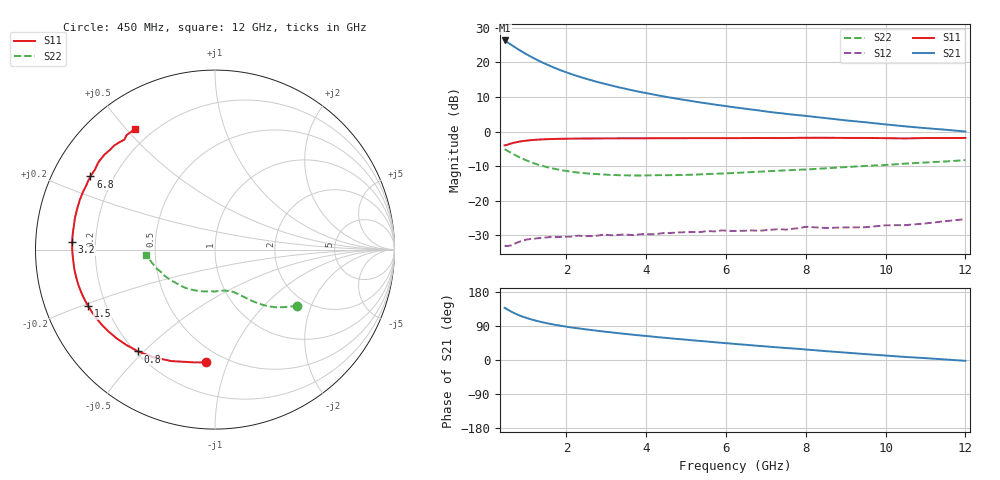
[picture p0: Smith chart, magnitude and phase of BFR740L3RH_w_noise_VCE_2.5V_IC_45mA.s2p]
! (c) 2012  Infineon Technologies AG, Munich
! Infineon Technologies  Discrete & RF Semiconductors
! BFR740L3RH
! VCE =  2.5 V,  IC =  45 mA
! Common Emitter S-Parameters:  May 2012
# GHz  S  MA  R  50
!  f  S11  S21  S12  S22
! GHz  MAG  ANG  MAG  ANG  MAG  ANG  MAG  ANG
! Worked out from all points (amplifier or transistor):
!   85 points, 450 MHz to 12 GHz, reference 50 ohm
!   highest |S21| = 26.4 dB at 450 MHz (marker M1)
!   |S21| within 3 dB of that: start of sweep to 853 MHz
!   unconditionally stable (mu >= 1): 2.964 GHz to end of sweep
!   at 1.8 GHz: K = 0.67, MSG = 24.3 dB, |S12| = -30.6 dB
!   at 4.6 GHz: K = 1.48, MAG = 15.5 dB, |S12| = -29.4 dB
!   at 12 GHz: K = 2.82, MAG = 5.3 dB, |S12| = -25.4 dB
!   lowest NFmin = 1.51 dB at 450 MHz
!   S11 on the Smith chart (normalised r, x): 450 MHz: 0.40, -0.84; 800 MHz: 0.21, -0.48; 1.5 GHz: 0.13, -0.21; 3.2 GHz: 0.11, +0.03; 6.8 GHz: 0.12, +0.27; 12 GHz: 0.14, +0.53
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0.45  0.6307 -94.4  20.8 137.9  0.0224 50.7  0.5557 -34.2
0.5  0.6391 -100.6  19.9 134.7  0.0219 48.7  0.5345 -36.3
0.6  0.6668 -111.3  18.25 128.6  0.0224 44.1  0.4952 -40.4
0.7  0.6919 -119.9  16.74 123.2  0.0238 39.3  0.4607 -44.1
0.8  0.7107 -127.0  15.37 118.5  0.0251 35.0  0.4301 -47.1
0.9  0.7261 -133.1  14.17 114.5  0.0264 32.5  0.4037 -49.4
1  0.7388 -138.2  13.11 110.9  0.0273 31.3  0.3815 -51.4
1.1  0.749 -142.7  12.19 107.7  0.0278 30.2  0.3621 -53.2
1.3  0.7641 -150.1  10.62 102.0  0.0287 27.1  0.3303 -56.3
1.5  0.7734 -156.0  9.382 97.3  0.0293 25.0  0.307 -58.8
1.7  0.7807 -160.9  8.364 93.2  0.0296 24.4  0.2886 -61.3
1.9  0.7858 -165.2  7.537 89.6  0.03 23.7  0.274 -63.3
2.4  0.7914 -173.3  6.015 82.1  0.0308 23.7  0.2511 -68.5
2.8  0.7941 -178.4  5.173 76.8  0.0313 23.0  0.2412 -72.5
3.2  0.7966 177.0  4.524 72.0  0.0315 23.3  0.2346 -77.2
4.3  0.7999 167.3  3.331 60.2  0.0331 26.6  0.2337 -90.5
5.3  0.8025 159.5  2.663 50.7  0.035 28.0  0.2389 -103.1
6.3  0.8022 152.8  2.206 41.7  0.0365 31.2  0.2526 -116.0
6.8  0.8053 149.6  2.026 37.4  0.0366 30.4  0.2617 -122.7
8.5  0.8121 139.3  1.562 23.4  0.0402 34.0  0.2935 -142.8
10.5  0.7938 129.5  1.187 8.0  0.0442 39.6  0.3435 -162.5
12  0.8064 123.4  1 -2.2  0.0538 45.2  0.385 -175.5
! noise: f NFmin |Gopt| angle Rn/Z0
0.45  1.51  0.26  180  0.12
0.9  1.55  0.26  180  0.11
1.5  1.64  0.28  180  0.11
1.9  1.72  0.29  -179  0.12
2.4  1.83  0.31  -176  0.12
3.5  2.12  0.34  -172  0.12
5.5  2.68  0.43  -158  0.15
8  3.35  0.46  -146  0.28
10  3.84  0.54  -130  0.47
12  4.29  0.57  -119  0.8
